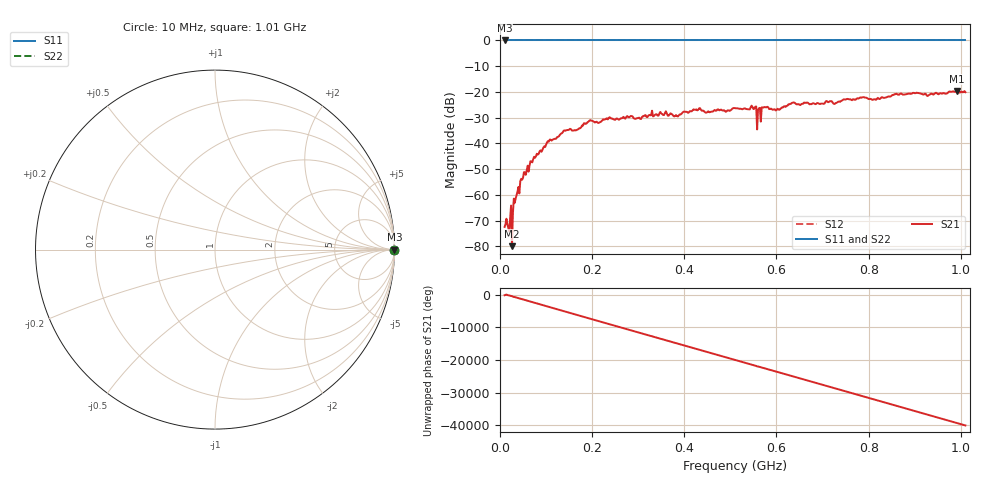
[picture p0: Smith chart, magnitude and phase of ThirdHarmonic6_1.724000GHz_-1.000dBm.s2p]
! 8/16/2025 8:45:38 PM
! C:\ANRITSUVNA\TEMP\TEMP.S2P
! CHANNEL.1
! TR.MEASUREMENT
! RAW.DATA
! RF.CORRECTION.OFF
! AVERAGING.OFF
! IF.BANDWIDTH: 5KHZ
! SWEEPTYPE:  FREQ.SWEEP(Linear)
! Reference Plane Port Info
! PORT:  PORT1  PORT2
! DISTANCE:  0  m  0  m
! TIME:  0  s  0  s
! PHASE.OFFSET:  0  deg.  0  deg.
! LOSS:  0  dB  0  dB
! REF.LOSS:  0  dB  0  dB
! REF.FREQ:  0  Hz  0  Hz
! Power Info
! POWER:  -20  dBm  -20  dBm
! EFF.POWER:  -20  dBm  -20  dBm
! SOURCE.ATTEN:  0  dB  0  dB
! TEST.ATTEN:  0  dB  0  dB
# GHZ S RI R 50.0
! FREQ.GHZ  S11RE  S11IM  S21RE  S21IM  S12RE  S12IM  S22RE  S22IM
!; PortSelection: Port_12
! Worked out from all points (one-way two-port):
!   501 points, 10 MHz to 1.01 GHz, reference 50 ohm
!   highest |S21| = -19.65 dB at 992 MHz (marker M1); lowest = -79.9 dB at 26 MHz (marker M2)
!   lowest |S11| = 0.0 dB at 10 MHz (marker M3)
!   |S11| at or under -10 dB: nowhere
!   |S22| runs from 0.0 to 0.0 dB; largest |S21 - S12| = 1.1
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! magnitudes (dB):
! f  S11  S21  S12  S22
! 10 MHz  0.0  -72.4  0.0  0.0
! 20 MHz  0.0  -74.0  0.0  0.0
! 22 MHz  0.0  -69.3  0.0  0.0
! 26 MHz  0.0  -79.9  0.0  0.0
! 30 MHz  0.0  -61.4  0.0  0.0
! 34 MHz  0.0  -61.4  0.0  0.0
! 48 MHz  0.0  -54.1  0.0  0.0
! 70 MHz  0.0  -47.3  0.0  0.0
! 106 MHz  0.0  -39.3  0.0  0.0
! 178 MHz  0.0  -33.0  0.0  0.0
! 196 MHz  0.0  -30.9  0.0  0.0
! 344 MHz  0.0  -29.2  0.0  0.0
! 510 MHz  0.0  -26.3  0.0  0.0
! 552 MHz  0.0  -26.5  0.0  0.0
! 562 MHz  0.0  -26.4  0.0  0.0
! 572 MHz  0.0  -26.0  0.0  0.0
! 602 MHz  0.0  -26.5  0.0  0.0
! 636 MHz  0.0  -24.1  0.0  0.0
! 678 MHz  0.0  -24.5  0.0  0.0
! 844 MHz  0.0  -21.8  0.0  0.0
! 992 MHz  0.0  -19.7  0.0  0.0
! 1.01 GHz  0.0  -20.1  0.0  0.0
